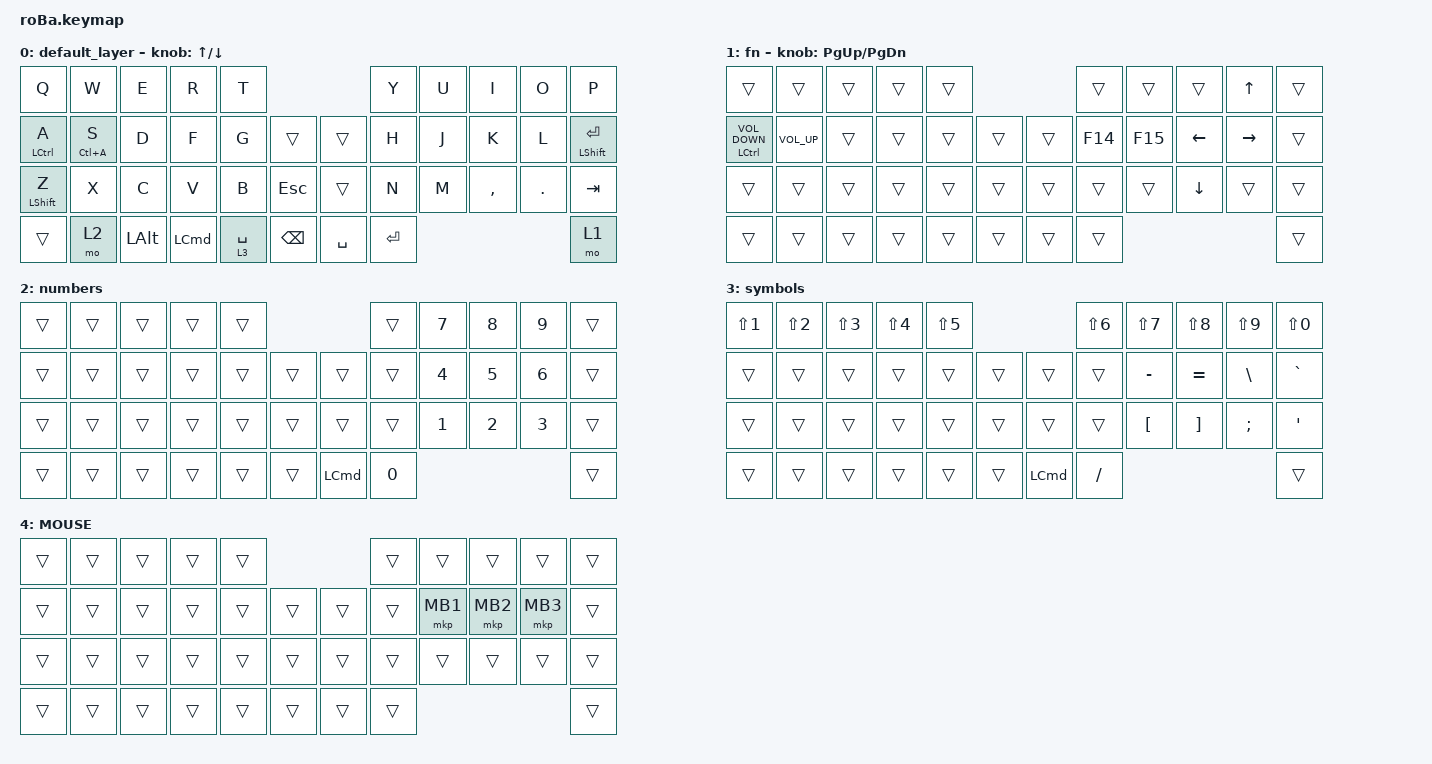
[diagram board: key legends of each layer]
#include <behaviors.dtsi>
#include <dt-bindings/zmk/keys.h>
#include <dt-bindings/zmk/pointing.h>

#define MOUSE 4
#define SCROLL 5
#define NUM 6

&mt {
    flavor = "balanced";
    quick-tap-ms = <0>;
};

/ {
    combos {
        compatible = "zmk,combos";

        tab {
            bindings = <&kp TAB>;
            key-positions = <11 12>;
        };

        shift_tab {
            bindings = <&kp LS(TAB)>;
            key-positions = <12 13>;
        };

        muhennkann {
            bindings = <&to_layer_0 INT_MUHENKAN>;
            key-positions = <11 10>;
        };

        double_quotation {
            bindings = <&kp DOUBLE_QUOTES>;
            key-positions = <20 21>;
        };

        eq {
            bindings = <&kp EQUAL>;
            key-positions = <24 25>;
        };

        ctrl+a {
            bindings = <&kp LC(A)>;
            key-positions = <10 11>;
        };
    };

    macros {
        to_layer_0: to_layer_0 {
            compatible = "zmk,behavior-macro-one-param";
            #binding-cells = <1>;
            bindings = <&to 0 &macro_param_1to1 &kp MACRO_PLACEHOLDER>;
            label = "TO_LAYER_0";
        };
    };

    behaviors {
        lt_to_layer_0: lt_to_layer_0 {
            compatible = "zmk,behavior-hold-tap";
            label = "LAYER_TAP_TO_0";
            bindings = <&mo>, <&to_layer_0>;

            #binding-cells = <2>;
            tapping-term-ms = <200>;
        };
    };

    keymap {
        compatible = "zmk,keymap";

        default_layer {
            bindings = <
&kp Q             &kp W        &kp E         &kp R             &kp T                                      &kp Y      &kp U  &kp I      &kp O       &kp P
&mt LCTRL A       &mt LC(A) S  &kp D         &kp F             &kp G        &trans             &trans     &kp H      &kp J  &kp K      &kp L       &mt LEFT_SHIFT ENTER
&mt LEFT_SHIFT Z  &kp X        &kp C         &kp V             &kp B        &kp ESCAPE         &trans     &kp N      &kp M  &kp COMMA  &kp PERIOD  &kp TAB
&trans            &mo 2        &kp LEFT_ALT  &kp LEFT_COMMAND  &lt 3 SPACE  &kp BACKSPACE      &kp SPACE  &kp ENTER                                &mo 1
            >;

            sensor-bindings = <&inc_dec_kp UP_ARROW DOWN>;
        };

        fn {
            bindings = <
&trans                          &trans           &trans  &trans  &trans                      &trans   &trans   &trans          &kp UP_ARROW  &trans
&mt LEFT_CONTROL K_VOLUME_DOWN  &kp C_VOLUME_UP  &trans  &trans  &trans  &trans      &trans  &kp F14  &kp F15  &kp LEFT_ARROW  &kp RIGHT     &trans
&trans                          &trans           &trans  &trans  &trans  &trans      &trans  &trans   &trans   &kp DOWN_ARROW  &trans        &trans
&trans                          &trans           &trans  &trans  &trans  &trans      &trans  &trans                                          &trans
            >;

            sensor-bindings = <&inc_dec_kp PAGE_UP PAGE_DOWN>;
        };

        numbers {
            bindings = <
&trans  &trans  &trans  &trans  &trans                                &trans  &kp N7        &kp N8  &kp N9  &trans
&trans  &trans  &trans  &trans  &trans  &trans      &trans            &trans  &kp NUMBER_4  &kp N5  &kp N6  &trans
&trans  &trans  &trans  &trans  &trans  &trans      &trans            &trans  &kp N1        &kp N2  &kp N3  &trans
&trans  &trans  &trans  &trans  &trans  &trans      &kp LEFT_COMMAND  &kp N0                                &trans
            >;
        };

        symbols {
            bindings = <
&kp LS(N1)  &kp LS(N2)  &kp LS(N3)  &kp LS(N4)  &kp LS(N5)                                &kp LS(N6)  &kp LS(N7)  &kp LS(N8)  &kp LS(N9)  &kp LS(N0)
&trans      &trans      &trans      &trans      &trans      &trans      &trans            &trans      &kp MINUS   &kp EQUAL   &kp BSLH    &kp GRAVE
&trans      &trans      &trans      &trans      &trans      &trans      &trans            &trans      &kp LBKT    &kp RBKT    &kp SEMI    &kp APOS
&trans      &trans      &trans      &trans      &trans      &trans      &kp LEFT_COMMAND  &kp SLASH                                       &trans
            >;
        };

        MOUSE {
            bindings = <
&trans  &trans  &trans  &trans  &trans                      &trans  &trans    &trans    &trans    &trans
&trans  &trans  &trans  &trans  &trans  &trans      &trans  &trans  &mkp MB1  &mkp MB2  &mkp MB3  &trans
&trans  &trans  &trans  &trans  &trans  &trans      &trans  &trans  &trans    &trans    &trans    &trans
&trans  &trans  &trans  &trans  &trans  &trans      &trans  &trans                                &trans
            >;
        };
    };
};
